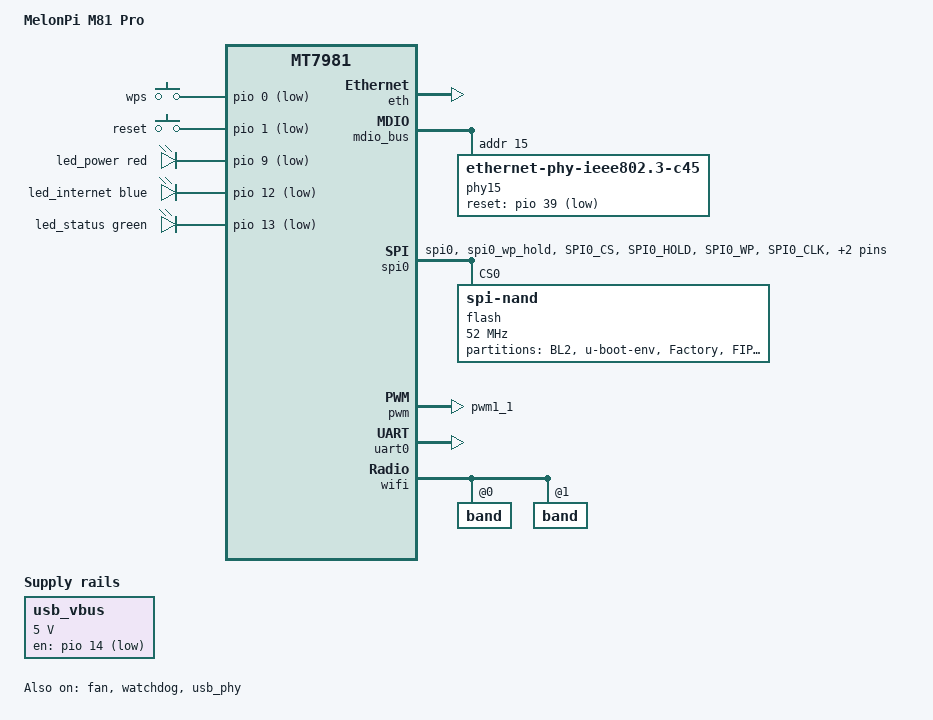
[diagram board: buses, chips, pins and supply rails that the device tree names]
// SPDX-License-Identifier: (GPL-2.0 OR MIT)

/dts-v1/;
#include "mt7981b.dtsi"

/ {
	model = "MelonPi M81 Pro";
	compatible = "melonpi,m81-pro", "mediatek,mt7981";

	aliases {
		label-mac-device = &gmac1;
		led-boot = &led_status;
		led-failsafe = &led_status;
		led-running = &led_status;
		led-upgrade = &led_status;
		serial0 = &uart0;
	};

	chosen {
		stdout-path = "serial0:115200n8";
		bootargs = "root=/dev/fit0 rootwait";
		rootdisk = <&ubi_rootdisk>;
	};

	gpio-keys {
		compatible = "gpio-keys";

		wps {
			label = "wps";
			linux,code = <KEY_WPS_BUTTON>;
			gpios = <&pio 0 GPIO_ACTIVE_LOW>;
		};

		reset {
			label = "reset";
			linux,code = <KEY_RESTART>;
			gpios = <&pio 1 GPIO_ACTIVE_LOW>;
		};
	};

	gpio-leds {
		compatible = "gpio-leds";

		led_power: led-0 {
			function = LED_FUNCTION_POWER;
			color = <LED_COLOR_ID_RED>;
			gpios = <&pio 9 GPIO_ACTIVE_LOW>;
		};

		led_internet: led-1 {
			function = LED_FUNCTION_LAN;
			color = <LED_COLOR_ID_BLUE>;
			gpios = <&pio 12 GPIO_ACTIVE_LOW>;
		};

		led_status: led-2 {
			function = LED_FUNCTION_STATUS;
			color = <LED_COLOR_ID_GREEN>;
			gpios = <&pio 13 GPIO_ACTIVE_LOW>;
		};
	};

	usb_vbus: regulator-usb {
		compatible = "regulator-fixed";
		regulator-name = "usb-vbus";
		regulator-min-microvolt = <5000000>;
		regulator-max-microvolt = <5000000>;
		gpios = <&pio 14 GPIO_ACTIVE_HIGH>;
		regulator-boot-on;
	};
};

&eth {
	pinctrl-names = "default";
	pinctrl-0 = <&mdio_pins>;
	status = "okay";

	gmac0: mac@0 {
		compatible = "mediatek,eth-mac";
		reg = <0>;
		phy-mode = "2500base-x";
		phy-handle = <&phy15>;
		nvmem-cell-names = "mac-address";
		nvmem-cells = <&macaddr_factory_24 0>;
	};

	gmac1: mac@1 {
		compatible = "mediatek,eth-mac";
		reg = <1>;
		phy-mode = "gmii";
		phy-handle = <&int_gbe_phy>;
		nvmem-cell-names = "mac-address";
		nvmem-cells = <&macaddr_factory_24 1>;
	};
};

&mdio_bus {
	phy15: ethernet-phy@15 {
		compatible = "ethernet-phy-ieee802.3-c45";
		reg = <15>;
		reset-gpios = <&pio 39 GPIO_ACTIVE_LOW>;
		reset-delay-us = <600>;
		reset-post-delay-us = <20000>;
	};
};

&spi0 {
	pinctrl-names = "default";
	pinctrl-0 = <&spi0_flash_pins>;
	#address-cells = <1>;
	#size-cells = <0>;
	status = "okay";

	flash@0 {
		compatible = "spi-nand";
		reg = <0>;

		spi-max-frequency = <52000000>;

		spi-tx-bus-width = <4>;
		spi-rx-bus-width = <4>;

		partitions {
			compatible = "fixed-partitions";
			#address-cells = <1>;
			#size-cells = <1>;

			partition@0 {
				label = "BL2";
				reg = <0x00000 0x0100000>;
				read-only;
			};

			partition@100000 {
				label = "u-boot-env";
				reg = <0x0100000 0x0080000>;
			};

			partition@180000 {
				label = "Factory";
				reg = <0x180000 0x0200000>;
				read-only;

				nvmem-layout {
					compatible = "fixed-layout";
					#address-cells = <1>;
					#size-cells = <1>;

					eeprom_factory_0: eeprom@0 {
						reg = <0x0 0x1000>;
					};

					macaddr_factory_4: macaddr@4 {
						reg = <0x4 0x6>;
						compatible = "mac-base";
						#nvmem-cell-cells = <1>;

					};

					macaddr_factory_24: macaddr@24 {
						reg = <0x24 0x6>;
						compatible = "mac-base";
						#nvmem-cell-cells = <1>;
					};
				};
			};

			partition@380000 {
				label = "FIP";
				reg = <0x380000 0x0200000>;
				read-only;
			};

			partition@580000 {
				label = "ubi";
				reg = <0x580000 0x7a80000>;
				compatible = "linux,ubi";

				volumes {
					ubi_rootdisk: ubi-volume-fit {
						volname = "fit";
					};
				};
			};
		};
	};
};

&pio {
	spi0_flash_pins: spi0-pins {
		mux {
			function = "spi";
			groups = "spi0", "spi0_wp_hold";
		};

		conf-pu {
			pins = "SPI0_CS", "SPI0_HOLD", "SPI0_WP";
			drive-strength = <MTK_DRIVE_8mA>;
			bias-pull-up = <MTK_PUPD_SET_R1R0_11>;
		};

		conf-pd {
			pins = "SPI0_CLK", "SPI0_MOSI", "SPI0_MISO";
			drive-strength = <MTK_DRIVE_8mA>;
			bias-pull-down = <MTK_PUPD_SET_R1R0_11>;
		};
	};

	pwm1_pins: pwm1-pins {
		mux {
			function = "pwm";
			groups = "pwm1_1";
		};
	};
};

&fan {
	pwms = <&pwm 1 40000 0>;
	status = "okay";
};

&pwm {
	pinctrl-names = "default";
	pinctrl-0 = <&pwm1_pins>;
	status = "okay";
};

&watchdog {
	status = "okay";
};

&uart0 {
	status = "okay";
};

&usb_phy {
	status = "okay";
};

&xhci {
	status = "disabled";
	vbus-supply = <&usb_vbus>;
};

&wifi {
	#address-cells = <1>;
	#size-cells = <0>;
	nvmem-cells = <&eeprom_factory_0>;
	nvmem-cell-names = "eeprom";
	status = "okay";

	band@0 {
		reg = <0>;
		nvmem-cells = <&macaddr_factory_4 0>;
		nvmem-cell-names = "mac-address";
	};

	band@1 {
		reg = <1>;
		nvmem-cells = <&macaddr_factory_4 1>;
		nvmem-cell-names = "mac-address";
	};
};
